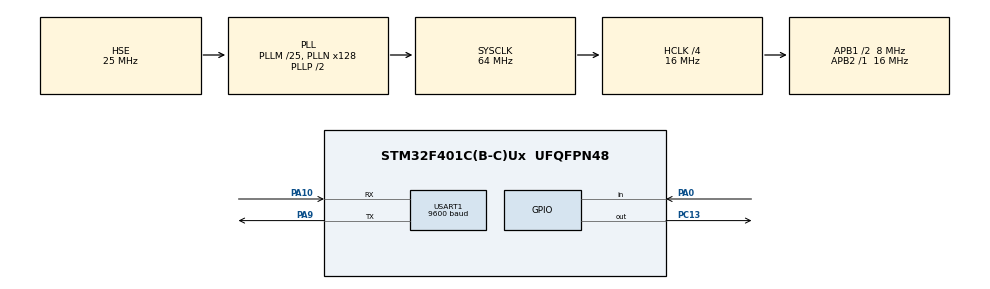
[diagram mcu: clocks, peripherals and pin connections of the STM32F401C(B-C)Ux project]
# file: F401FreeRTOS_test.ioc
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Mcu.Family=STM32F4
RCC.PLLSourceVirtual=RCC_PLLSOURCE_HSE
PC15-OSC32_OUT.Mode=LSE-External-Oscillator
Dma.USART1_TX.1.Instance=DMA2_Stream7
FREERTOS.Queues01=messQueue,128,uint8_t,0,Static,messQueueBuffer,messQueueControlBlock
RCC.CortexFreq_Value=16000000
FREERTOS.Tasks01=defaultTask,24,128,StartDefaultTask,Default,NULL,Dynamic,NULL,NULL;ledBlynk,24,128,Start_ledBlynk,Default,NULL,Dynamic,NULL,NULL
Dma.USART1_RX.0.PeriphDataAlignment=DMA_PDATAALIGN_BYTE
PA10.Mode=Asynchronous
Dma.USART1_TX.1.MemInc=DMA_MINC_ENABLE
USART1.BaudRate=9600
PH1\ -\ OSC_OUT.Mode=HSE-External-Oscillator
RCC.APB1CLKDivider=RCC_HCLK_DIV2
PC14-OSC32_IN.Signal=RCC_OSC32_IN
PC13-ANTI_TAMP.PinState=GPIO_PIN_SET
RCC.SYSCLKSource=RCC_SYSCLKSOURCE_PLLCLK
ProjectManager.StackSize=0x400
PA0-WKUP.Signal=GPIO_Input
VP_FREERTOS_VS_CMSIS_V2.Mode=CMSIS_V2
PA13.Signal=SYS_JTMS-SWDIO
PA9.Mode=Asynchronous
PH0\ -\ OSC_IN.Mode=HSE-External-Oscillator
VP_SYS_VS_tim10.Mode=TIM10
PH0\ -\ OSC_IN.Signal=RCC_OSC_IN
ProjectManager.TargetToolchain=STM32CubeIDE
Dma.USART1_RX.0.Direction=DMA_PERIPH_TO_MEMORY
RCC.HCLKFreq_Value=16000000
RCC.APB2TimFreq_Value=16000000
PA9.Signal=USART1_TX
Dma.USART1_TX.1.FIFOMode=DMA_FIFOMODE_DISABLE
PC15-OSC32_OUT.Signal=RCC_OSC32_OUT
RCC.AHBFreq_Value=16000000
Dma.USART1_RX.0.PeriphInc=DMA_PINC_DISABLE
Dma.USART1_RX.0.Priority=DMA_PRIORITY_LOW
RCC.HSE_VALUE=25000000
PH1\ -\ OSC_OUT.Signal=RCC_OSC_OUT
PB3.Mode=Trace_Asynchronous_SW
Dma.USART1_TX.1.MemDataAlignment=DMA_MDATAALIGN_BYTE
board=custom
PC13-ANTI_TAMP.Signal=GPIO_Output
RCC.VCOOutputFreq_Value=128000000
RCC.APB2Freq_Value=16000000
PC14-OSC32_IN.Mode=LSE-External-Oscillator
PA14.Mode=Trace_Asynchronous_SW
NVIC.DMA2_Stream5_IRQn=true\:5\:0\:false\:false\:true\:false\:false\:true
Dma.USART1_RX.0.MemDataAlignment=DMA_MDATAALIGN_BYTE
RCC.AHBCLKDivider=RCC_SYSCLK_DIV4
Dma.USART1_RX.0.MemInc=DMA_MINC_ENABLE
PA13.Mode=Trace_Asynchronous_SW
Mcu.Name=STM32F401C(B-C)Ux
FREERTOS.configTOTAL_HEAP_SIZE=16000
Dma.USART1_TX.1.PeriphDataAlignment=DMA_PDATAALIGN_BYTE
RCC.48MHZClocksFreq_Value=32000000
PB3.Signal=SYS_JTDO-SWO
RCC.SYSCLKFreq_VALUE=64000000
Mcu.Package=UFQFPN48
NVIC.DMA2_Stream7_IRQn=true\:5\:0\:false\:false\:true\:true\:false\:true
NVIC.TimeBase=TIM1_UP_TIM10_IRQn
Dma.USART1_TX.1.Mode=DMA_NORMAL
USART1.VirtualMode=VM_ASYNC
NVIC.TimeBaseIP=TIM10
PA10.Signal=USART1_RX
PA14.Signal=SYS_JTCK-SWCLK
ProjectManager.HeapSize=0x200
Dma.USART1_TX.1.PeriphInc=DMA_PINC_DISABLE
NVIC.TIM1_UP_TIM10_IRQn=true\:0\:0\:false\:false\:true\:false\:false\:true
RCC.HSI_VALUE=16000000
NVIC.PriorityGroup=NVIC_PRIORITYGROUP_4
Dma.USART1_RX.0.FIFOMode=DMA_FIFOMODE_DISABLE
RCC.PLLM=25
RCC.PLLN=128
Dma.Request1=USART1_TX
RCC.APB1TimFreq_Value=16000000
PA0-WKUP.GPIO_PuPd=GPIO_PULLUP
Dma.USART1_RX.0.Mode=DMA_NORMAL
Dma.USART1_TX.1.Priority=DMA_PRIORITY_LOW
NVIC.USART1_IRQn=true\:5\:0\:false\:false\:true\:true\:true\:true
Dma.Request0=USART1_RX
RCC.APB1Freq_Value=8000000
Dma.USART1_RX.0.Instance=DMA2_Stream5
Dma.USART1_TX.1.Direction=DMA_MEMORY_TO_PERIPH

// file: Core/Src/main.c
/* USER CODE BEGIN Header */
/**
  ******************************************************************************
  * @file           : main.c
  * @brief          : Main program body
  ******************************************************************************
  * @attention
  *
  * <h2><center>&copy; Copyright (c) 2021 STMicroelectronics.
  * All rights reserved.</center></h2>
  *
  * This software component is licensed by ST under BSD 3-Clause license,
  * the "License"; You may not use this file except in compliance with the
  * License. You may obtain a copy of the License at:
  *                        opensource.org/licenses/BSD-3-Clause
  *
  ******************************************************************************
  */
/* USER CODE END Header */
#include "main.h"
#include "cmsis_os.h"

/* USER CODE BEGIN Includes */
#include <stdio.h>
#include "libmodbusrtu.h"
/* USER CODE END Includes */

typedef StaticQueue_t osStaticMessageQDef_t;

UART_HandleTypeDef huart1;
DMA_HandleTypeDef hdma_usart1_rx;
DMA_HandleTypeDef hdma_usart1_tx;

/* Definitions for defaultTask */
osThreadId_t defaultTaskHandle;
const osThreadAttr_t defaultTask_attributes = {
  .name = "defaultTask",
  .stack_size = 128 * 4,
  .priority = (osPriority_t) osPriorityNormal,
};
/* Definitions for ledBlynk */
osThreadId_t ledBlynkHandle;
const osThreadAttr_t ledBlynk_attributes = {
  .name = "ledBlynk",
  .stack_size = 128 * 4,
  .priority = (osPriority_t) osPriorityNormal,
};
/* Definitions for messQueue */
osMessageQueueId_t messQueueHandle;
uint8_t messQueueBuffer[ 128 * sizeof( uint8_t ) ];
osStaticMessageQDef_t messQueueControlBlock;
const osMessageQueueAttr_t messQueue_attributes = {
  .name = "messQueue",
  .cb_mem = &messQueueControlBlock,
  .cb_size = sizeof(messQueueControlBlock),
  .mq_mem = &messQueueBuffer,
  .mq_size = sizeof(messQueueBuffer)
};
/* USER CODE BEGIN PV */
osSemaphoreId_t BigMac;
uint8_t receive_buff[255];
/* USER CODE END PV */

void SystemClock_Config(void);
static void MX_GPIO_Init(void);
static void MX_DMA_Init(void);
static void MX_USART1_UART_Init(void);
void StartDefaultTask(void *argument);
void Start_ledBlynk(void *argument);

/* USER CODE BEGIN 0 */

int __io_putchar(int ch)
{
	ITM_SendChar(ch);
	return(ch);
}
//----------------------------------------------------------------------------
void HAL_UART_TxCpltCallback(UART_HandleTypeDef *huart)
{
        // завершена передача всех данных
}

/* USER CODE END 0 */

int main(void)
{

  /* MCU Configuration--------------------------------------------------------*/

  /* Reset of all peripherals, Initializes the Flash interface and the Systick. */
  HAL_Init();

  /* Configure the system clock */
  SystemClock_Config();

  /* Initialize all configured peripherals */
  MX_GPIO_Init();
  MX_DMA_Init();
  MX_USART1_UART_Init();
  /* USER CODE BEGIN 2 */
  //size_t fre=xPortGetFreeHeapSize();
  printf("Programm started!\n");
  __HAL_UART_ENABLE_IT(&huart1, UART_IT_IDLE);
  //	HAL_UART_Receive_DMA(&huart1, (uint8_t*)receive_buff, 255);
  /* USER CODE END 2 */

  /* Init scheduler */
  osKernelInitialize();

  /* USER CODE BEGIN RTOS_SEMAPHORES */
  /* add semaphores, ... */
  BigMac = osSemaphoreNew( 20, 0, NULL/*&BigMac_attributes */);
  /* USER CODE END RTOS_SEMAPHORES */

  /* Create the queue(s) */
  /* creation of messQueue */
  messQueueHandle = osMessageQueueNew (128, sizeof(uint8_t), &messQueue_attributes);

  /* Create the thread(s) */
  /* creation of defaultTask */
  defaultTaskHandle = osThreadNew(StartDefaultTask, NULL, &defaultTask_attributes);

  /* creation of ledBlynk */
  ledBlynkHandle = osThreadNew(Start_ledBlynk, NULL, &ledBlynk_attributes);

  /* USER CODE BEGIN RTOS_THREADS */
  /* add threads, ... */
  //fre=xPortGetFreeHeapSize();
  /* USER CODE END RTOS_THREADS */

  /* Start scheduler */
  osKernelStart();

  /* We should never get here as control is now taken by the scheduler */
  /* Infinite loop */
  while (1)
  {

  }
}

void SystemClock_Config(void)
{
  RCC_OscInitTypeDef RCC_OscInitStruct = {0};
  RCC_ClkInitTypeDef RCC_ClkInitStruct = {0};

  /** Configure the main internal regulator output voltage
  */
  __HAL_RCC_PWR_CLK_ENABLE();
  __HAL_PWR_VOLTAGESCALING_CONFIG(PWR_REGULATOR_VOLTAGE_SCALE2);
  /** Initializes the RCC Oscillators according to the specified parameters
  * in the RCC_OscInitTypeDef structure.
  */
  RCC_OscInitStruct.OscillatorType = RCC_OSCILLATORTYPE_HSE;
  RCC_OscInitStruct.HSEState = RCC_HSE_ON;
  RCC_OscInitStruct.PLL.PLLState = RCC_PLL_ON;
  RCC_OscInitStruct.PLL.PLLSource = RCC_PLLSOURCE_HSE;
  RCC_OscInitStruct.PLL.PLLM = 25;
  RCC_OscInitStruct.PLL.PLLN = 128;
  RCC_OscInitStruct.PLL.PLLP = RCC_PLLP_DIV2;
  RCC_OscInitStruct.PLL.PLLQ = 4;
  if (HAL_RCC_OscConfig(&RCC_OscInitStruct) != HAL_OK)
  {
    Error_Handler();
  }
  /** Initializes the CPU, AHB and APB buses clocks
  */
  RCC_ClkInitStruct.ClockType = RCC_CLOCKTYPE_HCLK|RCC_CLOCKTYPE_SYSCLK
                              |RCC_CLOCKTYPE_PCLK1|RCC_CLOCKTYPE_PCLK2;
  RCC_ClkInitStruct.SYSCLKSource = RCC_SYSCLKSOURCE_PLLCLK;
  RCC_ClkInitStruct.AHBCLKDivider = RCC_SYSCLK_DIV4;
  RCC_ClkInitStruct.APB1CLKDivider = RCC_HCLK_DIV2;
  RCC_ClkInitStruct.APB2CLKDivider = RCC_HCLK_DIV1;

  if (HAL_RCC_ClockConfig(&RCC_ClkInitStruct, FLASH_LATENCY_0) != HAL_OK)
  {
    Error_Handler();
  }
}

static void MX_USART1_UART_Init(void)
{

  huart1.Instance = USART1;
  huart1.Init.BaudRate = 9600;
  huart1.Init.WordLength = UART_WORDLENGTH_8B;
  huart1.Init.StopBits = UART_STOPBITS_1;
  huart1.Init.Parity = UART_PARITY_NONE;
  huart1.Init.Mode = UART_MODE_TX_RX;
  huart1.Init.HwFlowCtl = UART_HWCONTROL_NONE;
  huart1.Init.OverSampling = UART_OVERSAMPLING_16;
  if (HAL_UART_Init(&huart1) != HAL_OK)
  {
    Error_Handler();
  }

}

static void MX_DMA_Init(void)
{

  /* DMA controller clock enable */
  __HAL_RCC_DMA2_CLK_ENABLE();

  /* DMA interrupt init */
  /* DMA2_Stream5_IRQn interrupt configuration */
  HAL_NVIC_SetPriority(DMA2_Stream5_IRQn, 5, 0);
  HAL_NVIC_EnableIRQ(DMA2_Stream5_IRQn);
  /* DMA2_Stream7_IRQn interrupt configuration */
  HAL_NVIC_SetPriority(DMA2_Stream7_IRQn, 5, 0);
  HAL_NVIC_EnableIRQ(DMA2_Stream7_IRQn);

}

static void MX_GPIO_Init(void)
{
  GPIO_InitTypeDef GPIO_InitStruct = {0};

  /* GPIO Ports Clock Enable */
  __HAL_RCC_GPIOC_CLK_ENABLE();
  __HAL_RCC_GPIOH_CLK_ENABLE();
  __HAL_RCC_GPIOA_CLK_ENABLE();
  __HAL_RCC_GPIOB_CLK_ENABLE();

  /*Configure GPIO pin Output Level */
  HAL_GPIO_WritePin(GPIOC, GPIO_PIN_13, GPIO_PIN_SET);

  /*Configure GPIO pin : PC13 */
  GPIO_InitStruct.Pin = GPIO_PIN_13;
  GPIO_InitStruct.Mode = GPIO_MODE_OUTPUT_PP;
  GPIO_InitStruct.Pull = GPIO_NOPULL;
  GPIO_InitStruct.Speed = GPIO_SPEED_FREQ_LOW;
  HAL_GPIO_Init(GPIOC, &GPIO_InitStruct);

  /*Configure GPIO pin : PA0 */
  GPIO_InitStruct.Pin = GPIO_PIN_0;
  GPIO_InitStruct.Mode = GPIO_MODE_INPUT;
  GPIO_InitStruct.Pull = GPIO_PULLUP;
  HAL_GPIO_Init(GPIOA, &GPIO_InitStruct);

}

void StartDefaultTask(void *argument)
{
  /* USER CODE BEGIN 5 */
	uint16_t data = 0;
	modbus_init(500);
  /* Infinite loop */
  for(;;)
  {
	  //if(HAL_GPIO_ReadPin(GPIOA,GPIO_PIN_0)==GPIO_PIN_RESET)
	  	  //{
	  		  //osSemaphoreRelease(BigMac);

	  	  //}
	  	  //osDelay(200);

	  modbus_readHoldingRegisters(0x01, 0x1C , 0x01, &data);
	  printf("Receive Data = %d ",data);
	  printf("\r\n");
	  osDelay(2000);
  }
  /* USER CODE END 5 */
}

void Start_ledBlynk(void *argument)
{
  /* USER CODE BEGIN Start_ledBlynk */
  /* Infinite loop */
  for(;;)
  {
	  osSemaphoreAcquire( BigMac, portMAX_DELAY);
	  HAL_GPIO_WritePin(GPIOC,GPIO_PIN_13,GPIO_PIN_RESET);
	  osDelay(500);
	  HAL_GPIO_WritePin(GPIOC,GPIO_PIN_13,GPIO_PIN_SET);
	  printf("BigMac Count = %d\n", (int)osSemaphoreGetCount(BigMac));
	  osDelay(500);
  }
  /* USER CODE END Start_ledBlynk */
}

 /**
  * @brief  Period elapsed callback in non blocking mode
  * @note   This function is called  when TIM10 interrupt took place, inside
  * HAL_TIM_IRQHandler(). It makes a direct call to HAL_IncTick() to increment
  * a global variable "uwTick" used as application time base.
  * @param  htim : TIM handle
  * @retval None
  */
void HAL_TIM_PeriodElapsedCallback(TIM_HandleTypeDef *htim)
{
  if (htim->Instance == TIM10) {
    HAL_IncTick();
  }
}

void Error_Handler(void)
{
  __disable_irq();
  while (1)
  {
  }
}

/************************ (C) COPYRIGHT STMicroelectronics *****END OF FILE****/
